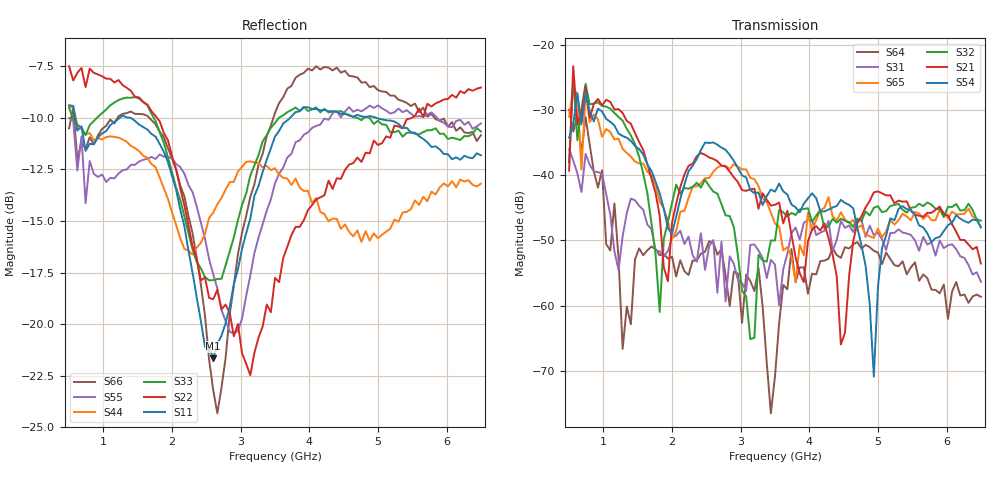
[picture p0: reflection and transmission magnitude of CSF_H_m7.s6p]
!Keysight Technologies,M9804A,MY58100912,A.14.10.03
!Date: Thursday, April 27, 2023 10:28:33
!Correction: S11(C  6-Port  )
!S12(C  6-Port  )
!S13(C  6-Port  )
!S14(C  6-Port  )
!S15(C  6-Port  )
!S16(C  6-Port  )
!S21(C  6-Port  )
!S22(C  6-Port  )
!S23(C  6-Port  )
!S24(C  6-Port  )
!S25(C  6-Port  )
!S26(C  6-Port  )
!S31(C  6-Port  )
!S32(C  6-Port  )
!S33(C  6-Port  )
!S34(C  6-Port  )
!S35(C  6-Port  )
!S36(C  6-Port  )
!S41(C  6-Port  )
!S42(C  6-Port  )
!S43(C  6-Port  )
!S44(C  6-Port  )
!S45(C  6-Port  )
!S46(C  6-Port  )
!S51(C  6-Port  )
!S52(C  6-Port  )
!S53(C  6-Port  )
!S54(C  6-Port  )
!S55(C  6-Port  )
!S56(C  6-Port  )
!S61(C  6-Port  )
!S62(C  6-Port  )
!S63(C  6-Port  )
!S64(C  6-Port  )
!S65(C  6-Port  )
!S66(C  6-Port  )
!S6P File: Measurement: :
# Hz S  RI  R 50
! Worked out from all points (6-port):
!   101 points, 500 MHz to 6.5 GHz, reference 50 ohm
!   strongest paths, dB at 500 MHz, 2 GHz, 3.5 GHz, 5 GHz, 6.5 GHz:
!     S54: -34.3, -49.0, -42.5, -57.1, -48.0
!     S21: -39.3, -47.3, -44.5, -42.5, -53.5
!     S32: -38.0, -44.3, -50.0, -44.8, -47.0
!     S65: -31.1, -49.8, -47.4, -48.2, -48.0
!     S31: -36.1, -49.6, -53.7, -48.8, -56.3
!     S64: -30.0, -52.5, -70.8, -51.9, -58.7
!   lowest |S11| = -21.7 dB at 2.6 GHz (marker M1), VSWR 1.18, Z = 42.6 + j2.02 ohm
!   |S11| at or under -10 dB: 589.1 MHz to 1.236 GHz (647.4 MHz wide, 70.9 % of centre); 1.401 GHz to 3.718 GHz (2.316 GHz wide, 90.5 % of centre); 4.976 GHz to end of sweep
